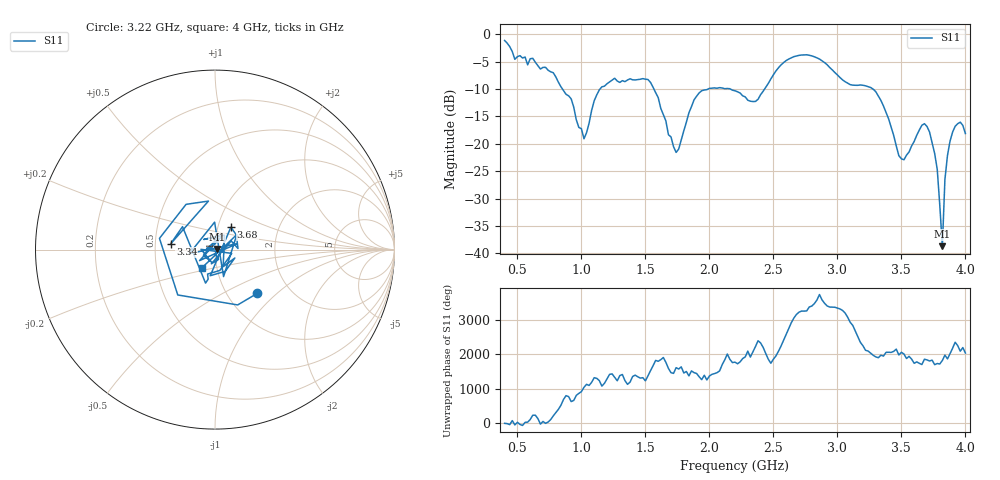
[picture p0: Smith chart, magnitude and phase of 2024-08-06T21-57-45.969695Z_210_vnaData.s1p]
!Created with skrf (http://scikit-rf.org).
# Hz S RI R 50.0
!freq ReS11 ImS11
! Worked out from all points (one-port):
!   181 points, 400 MHz to 4 GHz, reference 50 ohm
!   lowest |S11| = -38.7 dB at 3.82 GHz (marker M1), VSWR 1.02, Z = 51.1 + j0.361 ohm
!   |S11| at or under -10 dB: 852.5 MHz to 1.145 GHz (292.4 MHz wide, 29.3 % of centre); 1.567 GHz to 1.989 GHz (422.3 MHz wide, 23.8 % of centre); 3.279 GHz to end of sweep (the widest 3 of 4)
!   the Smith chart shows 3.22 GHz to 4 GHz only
!   S11 on the Smith chart (normalised r, x): 3.22 GHz: 1.37, -0.76; 3.34 GHz: 0.60, +0.04; 3.68 GHz: 1.15, +0.29; 4 GHz: 0.85, -0.17
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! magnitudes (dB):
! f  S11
! 400 MHz  -1.1
! 480 MHz  -4.6
! 620 MHz  -4.4
! 860 MHz  -10.3
! 920 MHz  -11.8
! 1.02 GHz  -19.1
! 1.14 GHz  -10.1
! 1.3 GHz  -8.8
! 1.52 GHz  -8.3
! 1.76 GHz  -20.9
! 1.92 GHz  -10.7
! 2.2 GHz  -10.3
! 2.36 GHz  -12.3
! 2.66 GHz  -4.1
! 2.86 GHz  -4.5
! 3.1 GHz  -9.2
! 3.22 GHz  -9.4
! 3.34 GHz  -12.1
! 3.48 GHz  -22.2
! 3.56 GHz  -21.5
! 3.68 GHz  -16.3
! 3.72 GHz  -17.8
! 3.78 GHz  -24.6
! 3.82 GHz  -38.7
! 3.84 GHz  -26.5
! 3.88 GHz  -19.5
! 3.96 GHz  -16.0
! 4 GHz  -18.1
